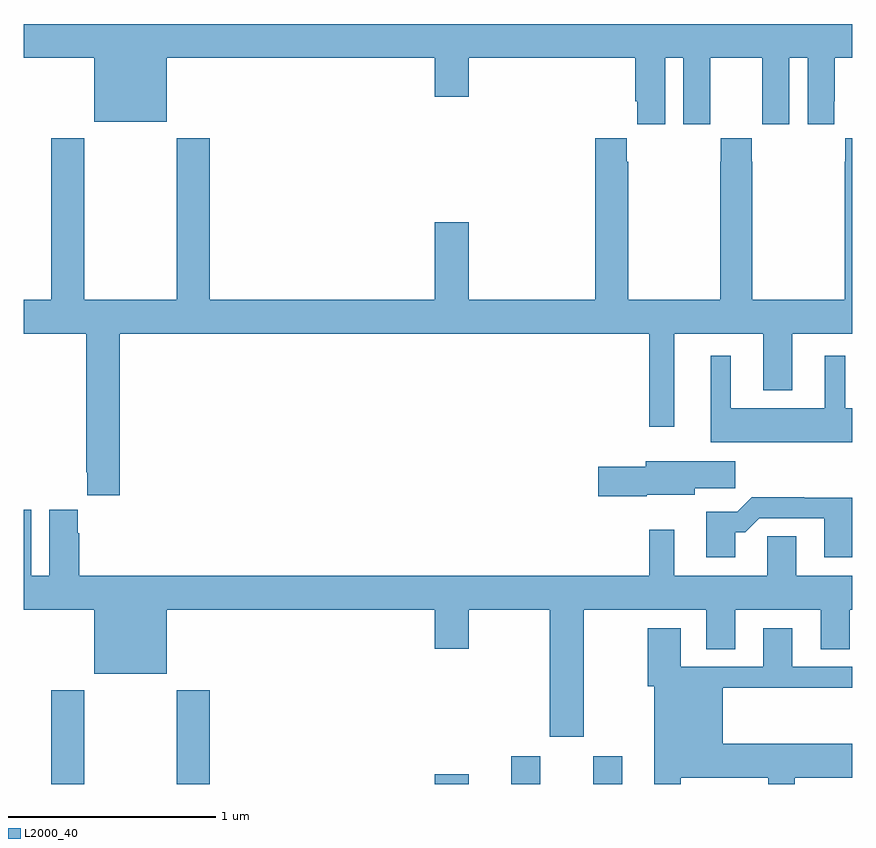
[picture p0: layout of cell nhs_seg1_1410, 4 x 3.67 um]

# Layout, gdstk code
import gdstk
lib = gdstk.Library(unit=1e-6, precision=1e-09)
def R(c, l, rs):  # rectangles x0, y0, x1, y1
    for r in rs: c.add(gdstk.rectangle(r[:2], r[2:], *l))
def P(c, l, *ps):  # polygons
    for p in ps: c.add(gdstk.Polygon(p, *l))
L2000_40 = (2000, 40)

nhs_seg1_1410 = lib.new_cell('nhs_seg1_1410')
R(nhs_seg1_1410, L2000_40, [(187.133,576.199,187.293,576.652), (187.738,576.199,187.898,576.652), (188.984,576.199,189.148,576.247), (189.353,576.199,189.493,576.334), (189.749,576.199,189.889,576.334)])
P(nhs_seg1_1410, L2000_40, [(190.096,579.704),(190.184,579.704),(190.184,579.384),(190.314,579.384),(190.314,579.496),(190.315,579.496),(190.315,579.704),(190.565,579.704),(190.565,579.496),(190.566,579.496),(190.566,579.384),(190.696,579.384),(190.696,579.704),(190.784,579.704),(190.784,579.384),(190.914,579.384),(190.914,579.496),(190.915,579.496),(190.915,579.704),(191,579.704),(191,579.868),(187,579.868),(187,579.704),(187.34,579.704),(187.34,579.395),(187.69,579.395),(187.69,579.704),(188.984,579.704),(188.984,579.516),(189.148,579.516),(189.148,579.704),(189.953,579.704),(189.953,579.496),(189.962,579.496),(189.962,579.384),(190.096,579.384)],
  [(187.463,578.372),(190.02,578.372),(190.02,577.923),(190.141,577.923),(190.141,578.372),(190.571,578.372),(190.571,578.099),(190.711,578.099),(190.711,578.372),(191,578.372),(191,579.316),(190.965,579.316),(190.965,579.203),(190.963,579.203),(190.963,578.536),(190.518,578.536),(190.518,579.203),(190.515,579.203),(190.515,579.316),(190.365,579.316),(190.365,579.203),(190.363,579.203),(190.363,578.536),(189.918,578.536),(189.918,579.203),(189.911,579.203),(189.911,579.316),(189.758,579.316),(189.758,578.536),(189.148,578.536),(189.148,578.911),(188.984,578.911),(188.984,578.536),(187.898,578.536),(187.898,579.316),(187.738,579.316),(187.738,578.536),(187.293,578.536),(187.293,579.316),(187.133,579.316),(187.133,578.536),(187,578.536),(187,578.372),(187.303,578.372),(187.303,577.705),(187.307,577.705),(187.307,577.593),(187.463,577.593)],
  [(191,578.014),(190.966,578.014),(190.966,578.266),(190.868,578.266),(190.868,578.014),(190.414,578.014),(190.414,578.266),(190.316,578.266),(190.316,577.85),(191,577.85)],
  [(190.008,577.595),(190.24,577.595),(190.24,577.627),(190.435,577.627),(190.435,577.756),(190.004,577.756),(190.004,577.73),(189.774,577.73),(189.774,577.588),(190.008,577.588)],
  [(190.435,577.415),(190.484,577.415),(190.551,577.482),(190.865,577.482),(190.865,577.293),(191,577.293),(191,577.58),(190.769,577.58),(190.769,577.583),(190.514,577.583),(190.444,577.513),(190.295,577.513),(190.295,577.293),(190.435,577.293)],
  [(187.268,577.409),(187.261,577.409),(187.261,577.522),(187.124,577.522),(187.124,577.204),(187.036,577.204),(187.036,577.522),(187,577.522),(187,577.04),(187.34,577.04),(187.34,576.731),(187.69,576.731),(187.69,577.04),(188.984,577.04),(188.984,576.852),(189.148,576.852),(189.148,577.04),(189.539,577.04),(189.539,576.426),(189.703,576.426),(189.703,577.04),(190.295,577.04),(190.295,576.85),(190.435,576.85),(190.435,577.04),(190.847,577.04),(190.847,576.85),(190.987,576.85),(190.987,577.04),(191,577.04),(191,577.204),(190.729,577.204),(190.729,577.394),(190.59,577.394),(190.59,577.204),(190.141,577.204),(190.141,577.426),(190.02,577.426),(190.02,577.204),(187.268,577.204)],
  [(190.171,576.23),(190.595,576.23),(190.595,576.199),(190.723,576.199),(190.723,576.23),(191,576.23),(191,576.394),(190.375,576.394),(190.375,576.664),(191,576.664),(191,576.765),(190.711,576.765),(190.711,576.952),(190.571,576.952),(190.571,576.765),(190.171,576.765),(190.171,576.952),(190.012,576.952),(190.012,576.672),(190.043,576.672),(190.043,576.199),(190.171,576.199)])

lib.write_gds('nhs_seg1_1410.gds')
